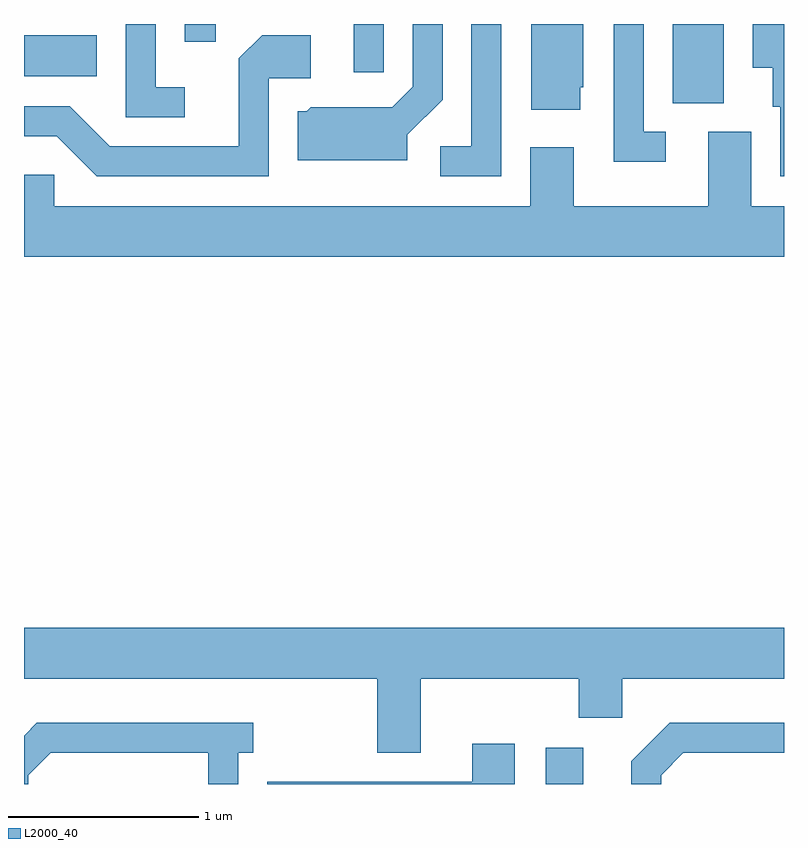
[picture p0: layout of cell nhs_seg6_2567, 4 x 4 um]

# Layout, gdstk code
import gdstk
lib = gdstk.Library(unit=1e-6, precision=1e-09)
def R(c, l, rs):  # rectangles x0, y0, x1, y1
    for r in rs: c.add(gdstk.rectangle(r[:2], r[2:], *l))
def P(c, l, *ps):  # polygons
    for p in ps: c.add(gdstk.Polygon(p, *l))
L2000_40 = (2000, 40)

nhs_seg6_2567 = lib.new_cell('nhs_seg6_2567')
R(nhs_seg6_2567, L2000_40, [(266.356,1536.162,266.554,1536.354), (267.026,1539.746,267.294,1540.162), (263.611,1539.886,263.994,1540.104), (265.346,1539.908,265.504,1540.162), (264.456,1540.068,264.619,1540.162)])
P(nhs_seg6_2567, L2000_40, [(265.629,1539.579),(265.814,1539.764),(265.814,1540.162),(265.656,1540.162),(265.656,1539.832),(265.549,1539.724),(265.119,1539.724),(265.099,1539.704),(265.051,1539.704),(265.051,1539.446),(265.629,1539.446)],
  [(266.988,1539.594),(266.874,1539.594),(266.874,1540.162),(266.716,1540.162),(266.716,1539.436),(266.988,1539.436)],
  [(267.611,1540.162),(267.446,1540.162),(267.446,1539.931),(267.551,1539.931),(267.551,1539.726),(267.591,1539.726),(267.591,1539.361),(267.611,1539.361)],
  [(264.458,1539.829),(264.304,1539.829),(264.304,1540.162),(264.146,1540.162),(264.146,1539.671),(264.458,1539.671)],
  [(266.539,1539.83),(266.554,1539.83),(266.554,1540.162),(266.281,1540.162),(266.281,1539.711),(266.539,1539.711)],
  [(266.124,1540.162),(265.966,1540.162),(265.966,1539.519),(265.803,1539.519),(265.803,1539.361),(266.124,1539.361)],
  [(264.899,1539.876),(265.119,1539.876),(265.119,1540.104),(264.864,1540.104),(264.741,1539.982),(264.741,1539.519),(264.062,1539.519),(263.852,1539.729),(263.611,1539.729),(263.611,1539.571),(263.784,1539.571),(263.994,1539.361),(264.899,1539.361)],
  [(267.611,1539.204),(267.439,1539.204),(267.439,1539.594),(267.211,1539.594),(267.211,1539.204),(266.504,1539.204),(266.504,1539.514),(266.276,1539.514),(266.276,1539.204),(263.769,1539.204),(263.769,1539.369),(263.611,1539.369),(263.611,1538.936),(267.611,1538.936)],
  [(265.699,1536.716),(266.531,1536.716),(266.531,1536.511),(266.759,1536.511),(266.759,1536.716),(267.611,1536.716),(267.611,1536.984),(263.611,1536.984),(263.611,1536.716),(265.471,1536.716),(265.471,1536.326),(265.699,1536.326)],
  [(263.634,1536.209),(263.752,1536.326),(264.581,1536.326),(264.581,1536.162),(264.739,1536.162),(264.739,1536.326),(264.818,1536.326),(264.818,1536.484),(263.679,1536.484),(263.611,1536.416),(263.611,1536.162),(263.634,1536.162)],
  [(266.964,1536.209),(267.082,1536.326),(267.611,1536.326),(267.611,1536.484),(267.009,1536.484),(266.806,1536.282),(266.806,1536.162),(266.964,1536.162)],
  [(266.194,1536.374),(265.971,1536.374),(265.971,1536.174),(264.891,1536.174),(264.891,1536.162),(266.194,1536.162)])

lib.write_gds('nhs_seg6_2567.gds')
